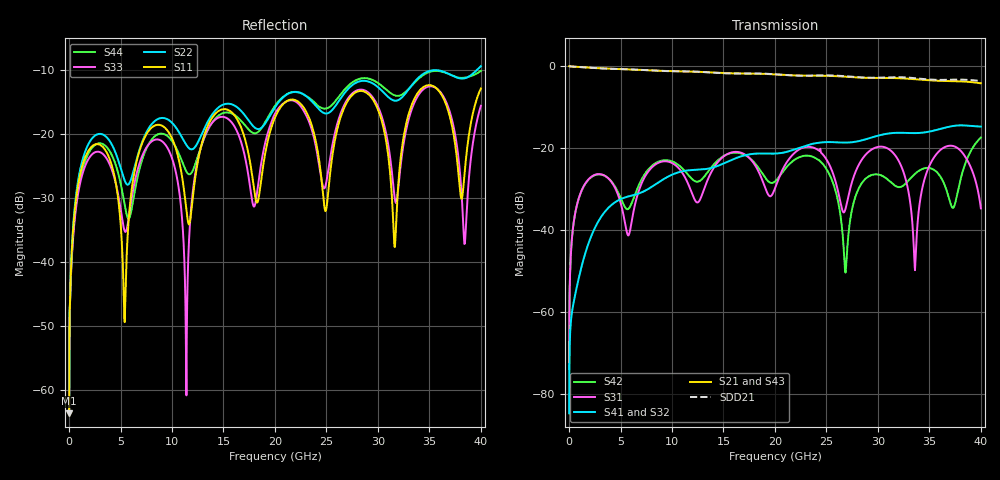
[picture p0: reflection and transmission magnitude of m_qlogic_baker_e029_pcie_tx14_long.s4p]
! freq	real(S11)	imag(S11)	real(S12)	imag(S12)	real(S13)	imag(S13)
!  real(S14)	imag(S14)
!  real(S21)	imag(S21)	real(S22)	imag(S22)	real(S23)	imag(S23)
!  real(S24)	imag(S24)
!  real(S31)	imag(S31)	real(S32)	imag(S32)	real(S33)	imag(S33)
!  real(S34)	imag(S34)
!  real(S41)	imag(S41)	real(S42)	imag(S42)	real(S43)	imag(S43)
!  real(S44)	imag(S44)
!port1: p1  port2: p2  port3: p3  port4: p4
#  MHz  S  RI  R 50
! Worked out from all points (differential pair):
!   8000 points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, 5 MHz to 40 GHz, reference 50 ohm
!   strongest paths, dB at 5 MHz, 10.01 GHz, 20 GHz, 30 GHz, 40 GHz:
!     S21: 0.0, -1.2, -2.0, -2.9, -4.2
!     S43: 0.0, -1.2, -2.0, -2.9, -4.2
!     S41: -84.6, -26.5, -21.3, -16.9, -14.7
!     S32: -84.6, -26.5, -21.3, -16.9, -14.5
!     S31: -73.8, -23.6, -29.7, -19.7, -34.7
!     S42: -73.8, -23.2, -28.1, -26.4, -17.4
!   taken as a pair (ports 1,3 in; 2,4 out), SDD21 dB: 0.0, -1.2, -2.0, -2.8, -3.6
!   lowest |S11| = -63.6 dB at 5 MHz (marker M1), VSWR 1.00, Z = 50.1 + j0.000335 ohm
!   |S11| at or under -10 dB: start of sweep to end of sweep
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5  0.000663 3.34e-06  0.9993 -0.00286  0.000188 2.6e-05  -7.39e-05 -6.26e-06
   0.9993 -0.00286  0.000666 2.86e-06  -7.39e-05 -6.25e-06  0.000188 2.6e-05
   0.000202 2.81e-05  -5.87e-05 -4.33e-06  0.000669 1.07e-05  0.9993 -0.00283
   -5.87e-05 -4.33e-06  0.000201 2.8e-05  0.9993 -0.00283  0.000671 1.03e-05
1430  -0.0304 -0.0533  0.7305 -0.634  0.0249 0.0241  -0.00205 -0.00412
      0.7305 -0.6341  -0.0252 -0.0626  -0.00202 -0.00404  0.0215 0.0268
      0.0248 0.0241  -0.00197 -0.00403  -0.0215 -0.0479  0.7355 -0.6295
      -0.00201 -0.00409  0.0215 0.0268  0.7355 -0.6295  -0.0202 -0.0534
6420  -0.00528 -0.0536  -0.9072 -0.018  -0.00865 0.0192  -0.000859 0.0272
      -0.9072 -0.018  -0.0273 -0.0504  -0.0023 0.0271  0.0153 0.023
      -0.00856 0.0192  -0.00237 0.0272  -0.0159 -0.0408  -0.9078 -0.0431
      -0.000922 0.0271  0.0154 0.023  -0.9078 -0.0431  -0.0113 -0.0352
11390  0.00378 0.0253  0.6056 0.6141  0.018 -0.037  0.0384 -0.037
       0.6056 0.6141  -0.0744 -0.0342  0.0406 -0.0338  0.0503 0.000785
       0.018 -0.0369  0.0406 -0.0339  0.00113 0.000242  0.5792 0.6423
       0.0384 -0.037  0.0503 0.000764  0.5792 0.6423  -0.0409 -0.0303
12755  0.0218 -0.0727  0.8433 0.1147  -0.0239 0.0032  0.00764 -0.0544
       0.8433 0.1147  -0.053 -0.0778  0.0123 -0.0536  0.0367 0.017
       -0.0239 0.00319  0.0123 -0.0536  0.00263 -0.0755  0.8381 0.1584
       0.00763 -0.0544  0.0367 0.017  0.8381 0.1584  -0.0175 -0.0747
19675  0.0217 -0.1114  -0.7974 0.0177  -0.0261 -0.00487  0.00285 0.0858
       -0.7974 0.0177  -0.0901 -0.1144  -0.00617 0.0857  0.0376 -0.0023
       -0.0262 -0.00479  -0.00605 0.0855  0.0208 -0.1226  -0.7955 -0.045
       0.00284 0.0858  0.0376 -0.00227  -0.7955 -0.045  -0.0612 -0.1371
40000  -0.045 -0.2209  0.5552 -0.2714  0.0166 -0.00812  -0.0918 -0.1588
       0.5551 -0.2712  -0.3197 -0.1036  -0.0627 -0.1766  -0.0737 0.1135
       0.0165 -0.00828  -0.0626 -0.1765  0.0376 -0.1607  0.6061 -0.1305
       -0.0917 -0.1588  -0.0735 0.1135  0.606 -0.1304  -0.2995 -0.0764
